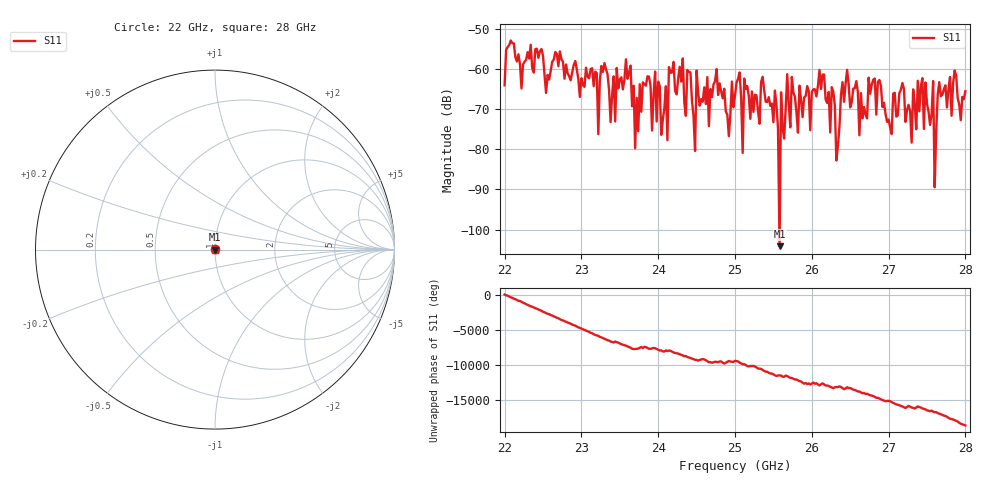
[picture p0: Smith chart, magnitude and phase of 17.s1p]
#  HZ  S  RI  R  50.00
! Rohde & Schwarz ZVA40 4Ports - Version 3.90 - 1145.1110k42 SN: 100403
! Date: 2023-10-04 09:34:09
! Measurement: S12
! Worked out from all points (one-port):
!   301 points, 22 GHz to 28 GHz, reference 50 ohm
!   lowest |S11| = -104.2 dB at 25.58 GHz (marker M1), VSWR 1.00, Z = 50 + j0.000237 ohm
!   |S11| at or under -10 dB: start of sweep to end of sweep
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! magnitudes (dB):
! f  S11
! 22 GHz  -64.0
! 22.76 GHz  -58.1
! 23.2 GHz  -60.9
! 23.22 GHz  -76.2
! 23.26 GHz  -59.2
! 23.5 GHz  -62.5
! 23.64 GHz  -59.1
! 23.7 GHz  -79.7
! 23.76 GHz  -63.7
! 24.12 GHz  -77.7
! 24.14 GHz  -59.4
! 24.26 GHz  -62.3
! 24.42 GHz  -60.7
! 24.48 GHz  -80.4
! 24.5 GHz  -60.3
! 25 GHz  -66.6
! 25.06 GHz  -60.8
! 25.1 GHz  -80.9
! 25.12 GHz  -62.3
! 25.52 GHz  -65.3
! 25.58 GHz  -104.2
! 25.76 GHz  -65.8
! 26.5 GHz  -69.5
! 27.26 GHz  -68.9
! 27.58 GHz  -62.9
! 27.6 GHz  -89.4
! 27.66 GHz  -63.2
! 28 GHz  -65.5
